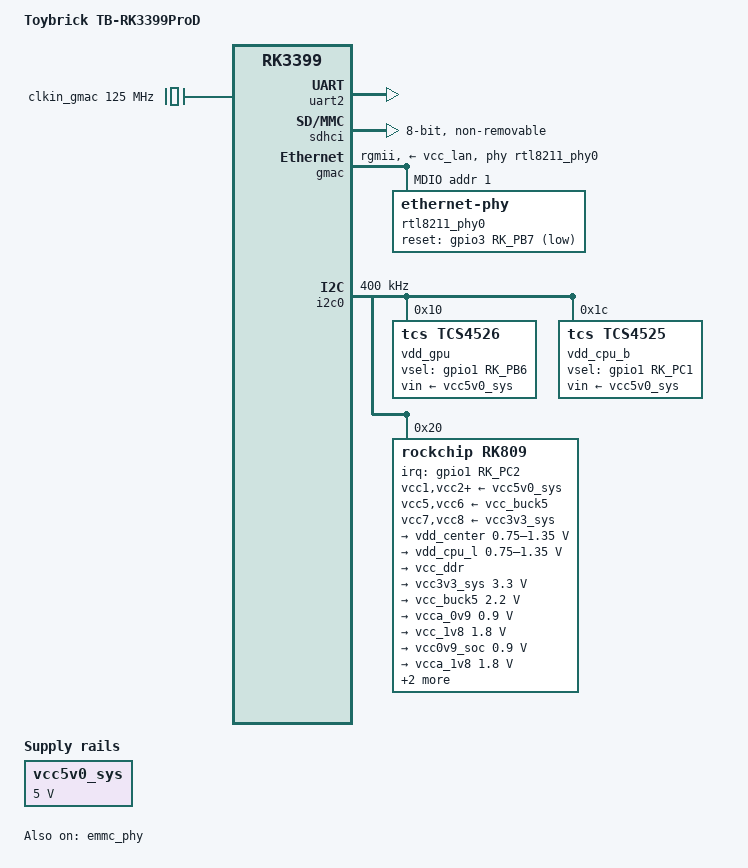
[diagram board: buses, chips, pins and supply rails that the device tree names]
// SPDX-License-Identifier: (GPL-2.0+ OR MIT)

/dts-v1/;
#include "rk3399.dtsi"

/ {
	model = "Toybrick TB-RK3399ProD";
	compatible = "toybrick,tb-rk3399pro-d", "rockchip,rk3399pro", "rockchip,rk3399";

	aliases {
		ethernet0 = &gmac;
		mmc0 = &sdhci;
	};

	chosen {
		stdout-path = "serial2:1500000n8";
	};

	clkin_gmac: external-gmac-clock {
		compatible = "fixed-clock";
		clock-frequency = <125000000>;
		clock-output-names = "clkin_gmac";
		#clock-cells = <0>;
	};

	/* NB679GD: ouput VCC5V0_SYS_S3 and VCC_RTC_S5 */
	vcc5v0_sys: regulator-vcc5v0-sys {
		compatible = "regulator-fixed";
		// enable-active-high;
		// gpio = <&gpio4 RK_PD2 GPIO_ACTIVE_HIGH>;
		regulator-name = "vcc5v0_sys";
		regulator-always-on;
		regulator-boot-on;
		regulator-max-microvolt = <5000000>;
		regulator-min-microvolt = <5000000>;
	};

};

/* cpu supply */
&cpu_l0 {
	cpu-supply = <&vdd_cpu_l>;
};

&cpu_l1 {
	cpu-supply = <&vdd_cpu_l>;
};

&cpu_l2 {
	cpu-supply = <&vdd_cpu_l>;
};

&cpu_l3 {
	cpu-supply = <&vdd_cpu_l>;
};

&cpu_b0 {
	cpu-supply = <&vdd_cpu_b>;
};

&cpu_b1 {
	cpu-supply = <&vdd_cpu_b>;
};

&uart2 {
	pinctrl-names = "default";
	status = "okay";
};

/* eMMC PHY and controller */
&emmc_phy {
	status = "okay";
};

&sdhci {
	bus-width = <8>;
	mmc-hs400-1_8v;
	supports-emmc;
	non-removable;
	keep-power-in-suspend;
	mmc-hs400-enhanced-strobe;
	status = "okay";
};

/* Ethernet MAC */
&gmac {
	clock_in_out = "input";
	phy-supply = <&vcc_lan>;
	phy-mode = "rgmii";
	assigned-clocks = <&cru SCLK_RMII_SRC>;
	assigned-clock-parents = <&clkin_gmac>;
	pinctrl-names = "default";
	pinctrl-0 = <&rgmii_pins>;
	phy-handle = <&rtl8211_phy0>;
	tx_delay = <0x28>;
	rx_delay = <0x11>;
	status = "okay";
	mdio {
		compatible = "snps,dwmac-mdio";
		#address-cells = <1>;
		#size-cells = <0>;

		rtl8211_phy0: ethernet-phy@1 {
			reg = <1>;
			reset-gpios = <&gpio3 RK_PB7 GPIO_ACTIVE_LOW>;
			reset-assert-us = <10000>;
			reset-deassert-us = <50000>;
		};
	};
};


/* pmic  */
&i2c0 {
	clock-frequency = <400000>;
	i2c-scl-falling-time-ns = <30>;
	i2c-scl-rising-time-ns = <180>;
	status = "okay";

	vdd_gpu: regulator@10 {
		compatible = "tcs,tcs4526";
		reg = <0x10>;
		pinctrl-names = "default";
		pinctrl-0 = <&vsel2_gpio>;
		regulator-name = "vdd_gpu";
		regulator-always-on;
		regulator-boot-on;
		regulator-max-microvolt = <1400000>;
		regulator-min-microvolt = <735000>;
		regulator-ramp-delay = <2300>;
		vin-supply = <&vcc5v0_sys>;
		vsel-gpios = <&gpio1 RK_PB6 GPIO_ACTIVE_HIGH>;
		fcs,suspend-voltage-selector = <1>;

		regulator-state-mem {
			regulator-off-in-suspend;
		};
	};

	vdd_cpu_b: regulator@1c {
		compatible = "tcs,tcs4525";
		reg = <0x1c>;
		pinctrl-names = "default";
		pinctrl-0 = <&vsel1_gpio>;
		regulator-name = "vdd_cpu_b";
		regulator-always-on;
		regulator-boot-on;
		regulator-max-microvolt = <1500000>;
		regulator-min-microvolt = <712500>;
		regulator-ramp-delay = <2300>;
		vin-supply = <&vcc5v0_sys>;
		vsel-gpios = <&gpio1 RK_PC1 GPIO_ACTIVE_HIGH>;
		fcs,suspend-voltage-selector = <1>;

		regulator-state-mem {
			regulator-off-in-suspend;
		};
	};

	rk809: pmic@20 {
		compatible = "rockchip,rk809";
		reg = <0x20>;
		interrupt-parent = <&gpio1>;
		interrupts = <RK_PC2 IRQ_TYPE_LEVEL_LOW>;
		#clock-cells = <1>;
		clock-output-names = "rk808-clkout1", "rk808-clkout2";
		pinctrl-names = "default";
		pinctrl-0 = <&pmic_int_l>;
		system-power-controller;
		wakeup-source;

		vcc1-supply = <&vcc5v0_sys>;
		vcc2-supply = <&vcc5v0_sys>;
		vcc3-supply = <&vcc5v0_sys>;
		vcc4-supply = <&vcc5v0_sys>;
		vcc5-supply = <&vcc_buck5>;
		vcc6-supply = <&vcc_buck5>;
		vcc7-supply = <&vcc3v3_sys>;
		vcc8-supply = <&vcc3v3_sys>;
		vcc9-supply = <&vcc5v0_sys>;

		regulators {
			vdd_center: DCDC_REG1 {
				regulator-name = "vdd_center";
				regulator-always-on;
				regulator-boot-on;
				regulator-min-microvolt = <750000>;
				regulator-max-microvolt = <1350000>;
				regulator-initial-mode = <0x2>;
				regulator-state-mem {
					regulator-on-in-suspend;
					regulator-suspend-microvolt = <900000>;
				};
			};

			vdd_cpu_l: DCDC_REG2 {
				regulator-name = "vdd_cpu_l";
				regulator-always-on;
				regulator-boot-on;
				regulator-min-microvolt = <750000>;
				regulator-max-microvolt = <1350000>;
				regulator-ramp-delay = <6001>;
				regulator-initial-mode = <0x2>;
				regulator-state-mem {
					regulator-off-in-suspend;
				};
			};

			vcc_ddr: DCDC_REG3 {
				regulator-name = "vcc_ddr";
				regulator-always-on;
				regulator-boot-on;
				regulator-initial-mode = <0x2>;
				regulator-state-mem {
					regulator-on-in-suspend;
				};
			};

			vcc3v3_sys: DCDC_REG4 {
				regulator-name = "vcc3v3_sys";
				regulator-always-on;
				regulator-boot-on;
				regulator-min-microvolt = <3300000>;
				regulator-max-microvolt = <3300000>;
				regulator-initial-mode = <0x2>;
				regulator-state-mem {
					regulator-on-in-suspend;
					regulator-suspend-microvolt = <3300000>;
				};
			};

			vcc_buck5: DCDC_REG5 {
				regulator-name = "vcc_buck5";
				regulator-always-on;
				regulator-boot-on;
				regulator-min-microvolt = <2200000>;
				regulator-max-microvolt = <2200000>;
				regulator-state-mem {
					regulator-on-in-suspend;
					regulator-suspend-microvolt = <2200000>;
				};
			};

			vcca_0v9: LDO_REG1 {
				regulator-name = "vcca_0v9";
				regulator-always-on;
				regulator-boot-on;
				regulator-min-microvolt = <900000>;
				regulator-max-microvolt = <900000>;
				regulator-state-mem {
					regulator-off-in-suspend;
				};
			};

			vcc_1v8: LDO_REG2 {
				regulator-name = "vcc_1v8";
				regulator-always-on;
				regulator-boot-on;
				regulator-min-microvolt = <1800000>;
				regulator-max-microvolt = <1800000>;
				regulator-state-mem {
					regulator-on-in-suspend;
					regulator-suspend-microvolt = <1800000>;
				};
			};

			vcc0v9_soc: LDO_REG3 {
				regulator-name = "vcc0v9_soc";
				regulator-always-on;
				regulator-boot-on;
				regulator-min-microvolt = <900000>;
				regulator-max-microvolt = <900000>;
				regulator-state-mem {
					regulator-on-in-suspend;
					regulator-suspend-microvolt = <900000>;
				};
			};

			vcca_1v8: LDO_REG4 {
				regulator-name = "vcca_1v8";
				regulator-always-on;
				regulator-boot-on;
				regulator-min-microvolt = <1800000>;
				regulator-max-microvolt = <1800000>;
				regulator-state-mem {
					regulator-off-in-suspend;
				};
			};

			/*
			 * As per BSP, but schematic not showing any regulator
			 * pin for LD05.
			 */
			vdd1v5_dvp: LDO_REG5 {
				regulator-name = "vdd1v5_dvp";
				regulator-always-on;
				regulator-boot-on;
				regulator-min-microvolt = <1500000>;
				regulator-max-microvolt = <1500000>;
				regulator-state-mem {
					regulator-off-in-suspend;
				};
			};
			vcc_1v5: LDO_REG6 {
				regulator-name = "vcc_1v5";
				regulator-always-on;
				regulator-boot-on;
				regulator-min-microvolt = <1500000>;
				regulator-max-microvolt = <1500000>;
				regulator-state-mem {
					regulator-off-in-suspend;
				};
			};

			vccio_3v0: LDO_REG7 {
				regulator-name = "vccio_3v0";
				regulator-always-on;
				regulator-boot-on;
				regulator-min-microvolt = <3000000>;
				regulator-max-microvolt = <3000000>;
				regulator-state-mem {
					regulator-off-in-suspend;
				};
			};

			vccio_sd: LDO_REG8 {
				regulator-name = "vccio_sd";
				regulator-always-on;
				regulator-boot-on;
				regulator-min-microvolt = <1800000>;
				regulator-max-microvolt = <3300000>;
				regulator-state-mem {
					regulator-on-in-suspend;
					regulator-suspend-microvolt = <3300000>;
				};
			};

			/*
			 * As per BSP, but schematic not showing any regulator
			 * pin for LD09.
			 */
			vcc_sd: LDO_REG9 {
				regulator-name = "vcc_sd";
				regulator-always-on;
				regulator-boot-on;
				regulator-min-microvolt = <3300000>;
				regulator-max-microvolt = <3300000>;
				regulator-state-mem {
					regulator-on-in-suspend;
					regulator-suspend-microvolt = <3300000>;
				};
			};

			vcc5v0_usb: SWITCH_REG1 {
				regulator-name = "vcc5v0_usb";
				regulator-min-microvolt = <5000000>;
				regulator-max-microvolt = <5000000>;
				regulator-state-mem {
					regulator-off-in-suspend;
				};
			};

			vccio_3v3: vcc_lan: SWITCH_REG2 {
				regulator-name = "vccio_3v3";
				regulator-always-on;
				regulator-boot-on;
				regulator-min-microvolt = <3300000>;
				regulator-max-microvolt = <3300000>;
				regulator-state-mem {
					regulator-off-in-suspend;
				};
			};
		};
	};
};

&pinctrl {
	pmic {
		pmic_int_l: pmic-int-l {
			rockchip,pins = <1 RK_PC5 RK_FUNC_GPIO &pcfg_pull_up>;
		};

		vsel1_gpio: vsel1 {
			rockchip,pins = <1 RK_PC1 RK_FUNC_GPIO &pcfg_pull_down>;
		};

		vsel2_gpio: vsel2 {
			rockchip,pins = <1 RK_PB6 RK_FUNC_GPIO &pcfg_pull_down>;
		};
	};
};
